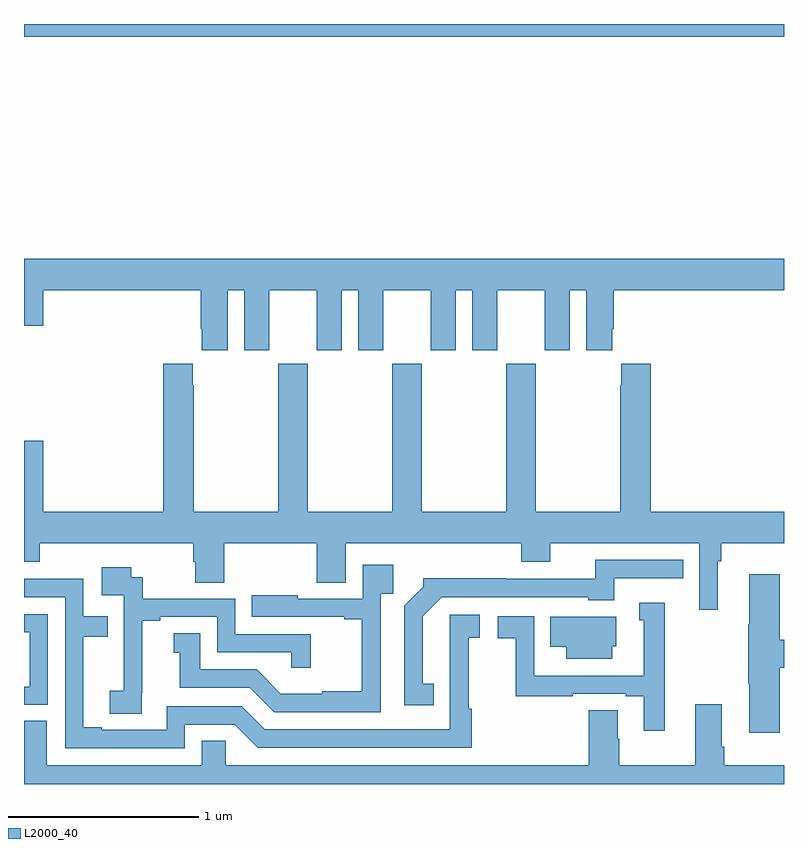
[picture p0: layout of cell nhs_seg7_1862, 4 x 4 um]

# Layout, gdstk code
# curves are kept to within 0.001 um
import gdstk
lib = gdstk.Library(unit=1e-6, precision=1e-09)
def R(c, l, rs):  # rectangles x0, y0, x1, y1
    for r in rs: c.add(gdstk.rectangle(r[:2], r[2:], *l))
def P(c, l, *ps):  # polygons
    for p in ps: c.add(gdstk.Polygon(p, *l))
L2000_40 = (2000, 40)

nhs_seg7_1862 = lib.new_cell('nhs_seg7_1862')
R(nhs_seg7_1862, L2000_40, [(237,1017.932,241,1018)])
P(nhs_seg7_1862, L2000_40, [(237,1016.412),(237.1,1016.412),(237.1,1016.6),(237.929,1016.6),(237.929,1016.395),(237.935,1016.395),(237.935,1016.283),(238.072,1016.283),(238.072,1016.6),(238.16,1016.6),(238.16,1016.283),(238.291,1016.283),(238.291,1016.6),(238.541,1016.6),(238.541,1016.283),(238.672,1016.283),(238.672,1016.6),(238.76,1016.6),(238.76,1016.283),(238.891,1016.283),(238.891,1016.6),(239.141,1016.6),(239.141,1016.283),(239.272,1016.283),(239.272,1016.6),(239.36,1016.6),(239.36,1016.283),(239.491,1016.283),(239.491,1016.6),(239.741,1016.6),(239.741,1016.283),(239.872,1016.283),(239.872,1016.6),(239.96,1016.6),(239.96,1016.283),(240.097,1016.283),(240.097,1016.395),(240.104,1016.395),(240.104,1016.6),(241,1016.6),(241,1016.764),(237,1016.764)],
  [(237.889,1016.099),(237.889,1016.212),(237.734,1016.212),(237.734,1015.432),(237.1,1015.432),(237.1,1015.807),(237,1015.807),(237,1015.169),(237.083,1015.169),(237.083,1015.268),(237.89,1015.268),(237.89,1015.17),(237.902,1015.17),(237.902,1015.06),(238.055,1015.06),(238.055,1015.268),(238.541,1015.268),(238.541,1015.06),(238.693,1015.06),(238.693,1015.268),(239.618,1015.268),(239.618,1015.169),(239.77,1015.169),(239.77,1015.268),(240.555,1015.268),(240.555,1014.918),(240.652,1014.918),(240.652,1015.172),(240.671,1015.172),(240.671,1015.268),(241,1015.268),(241,1015.432),(240.299,1015.432),(240.299,1016.212),(240.143,1016.212),(240.143,1016.099),(240.139,1016.099),(240.139,1015.432),(239.694,1015.432),(239.694,1016.212),(239.539,1016.212),(239.539,1015.432),(239.094,1015.432),(239.094,1016.212),(238.939,1016.212),(238.939,1015.432),(238.494,1015.432),(238.494,1016.212),(238.339,1016.212),(238.339,1015.432),(237.894,1015.432),(237.894,1016.099)],
  [(239.156,1014.527),(239.098,1014.527),(239.098,1014.883),(239.199,1014.984),(239.97,1014.984),(239.97,1014.968),(240.106,1014.968),(240.106,1015.083),(240.47,1015.083),(240.47,1015.179),(240.007,1015.179),(240.007,1015.08),(239.534,1015.08),(239.534,1015.082),(239.1,1015.082),(239.1,1015.037),(239.001,1014.938),(239.001,1014.414),(239.156,1014.414)],
  [(238.878,1015.001),(238.943,1015.001),(238.943,1015.153),(238.782,1015.153),(238.782,1014.975),(238.441,1014.975),(238.441,1014.994),(238.198,1014.994),(238.198,1014.879),(238.685,1014.879),(238.685,1014.867),(238.777,1014.867),(238.777,1014.487),(238.571,1014.487),(238.571,1014.475),(238.352,1014.475),(238.224,1014.603),(237.928,1014.603),(237.928,1014.794),(237.788,1014.794),(237.788,1014.691),(237.821,1014.691),(237.821,1014.507),(238.188,1014.507),(238.317,1014.378),(238.878,1014.378)],
  [(237.62,1014.481),(237.622,1014.481),(237.622,1014.859),(237.718,1014.859),(237.718,1014.879),(238.017,1014.879),(238.017,1014.693),(238.407,1014.693),(238.407,1014.612),(238.508,1014.612),(238.508,1014.789),(238.113,1014.789),(238.113,1014.975),(237.626,1014.975),(237.626,1015.089),(237.564,1015.089),(237.564,1015.141),(237.408,1015.141),(237.408,1014.993),(237.525,1014.993),(237.525,1014.689),(237.524,1014.689),(237.524,1014.492),(237.45,1014.492),(237.45,1014.37),(237.62,1014.37)],
  [(240.977,1014.611),(241,1014.611),(241,1014.758),(240.977,1014.758),(240.977,1015.105),(240.818,1015.105),(240.818,1014.841),(240.811,1014.841),(240.811,1014.527),(240.818,1014.527),(240.818,1014.27),(240.977,1014.27)],
  [(237.846,1014.312),(238.11,1014.312),(238.23,1014.192),(239.357,1014.192),(239.357,1014.395),(239.34,1014.395),(239.34,1014.771),(239.398,1014.771),(239.398,1014.892),(239.24,1014.892),(239.241,1014.288),(238.266,1014.288),(238.146,1014.408),(237.75,1014.408),(237.75,1014.285),(237.409,1014.285),(237.409,1014.3),(237.313,1014.3),(237.313,1014.774),(237.44,1014.774),(237.44,1014.882),(237.312,1014.882),(237.312,1015.08),(237,1015.08),(237,1014.984),(237.216,1014.984),(237.216,1014.189),(237.846,1014.189)],
  [(240.373,1014.955),(240.239,1014.955),(240.239,1014.861),(240.263,1014.861),(240.263,1014.57),(239.686,1014.57),(239.686,1014.571),(239.685,1014.571),(239.685,1014.882),(239.493,1014.882),(239.493,1014.766),(239.587,1014.766),(239.587,1014.462),(239.888,1014.462),(239.888,1014.474),(240.167,1014.474),(240.167,1014.462),(240.263,1014.462),(240.263,1014.279),(240.373,1014.279)],
  [(237.126,1014.894),(237,1014.894),(237,1014.798),(237.03,1014.798),(237.03,1014.513),(237,1014.513),(237,1014.417),(237.126,1014.417)],
  [(240.097,1014.726),(240.118,1014.726),(240.118,1014.88),(239.77,1014.88),(239.77,1014.722),(239.855,1014.722),(239.855,1014.659),(240.097,1014.659)],
  [(241,1014.1),(240.686,1014.1),(240.686,1014.196),(240.673,1014.196),(240.673,1014.421),(240.533,1014.421),(240.533,1014.1),(240.132,1014.1),(240.132,1014.239),(240.124,1014.239),(240.124,1014.389),(239.972,1014.389),(239.972,1014.1),(238.062,1014.1),(238.062,1014.227),(237.935,1014.227),(237.935,1014.1),(237.121,1014.1),(237.121,1014.332),(237,1014.332),(237,1014),(241,1014)])

lib.write_gds('nhs_seg7_1862.gds')
